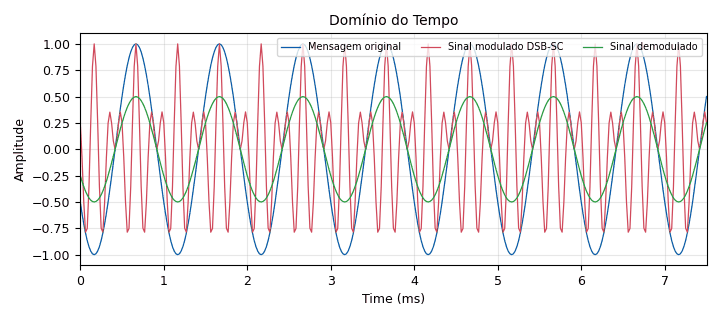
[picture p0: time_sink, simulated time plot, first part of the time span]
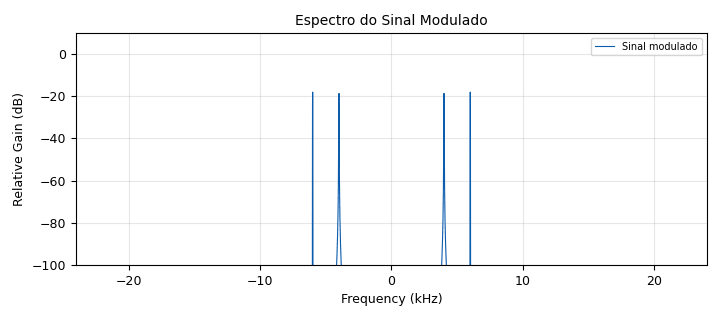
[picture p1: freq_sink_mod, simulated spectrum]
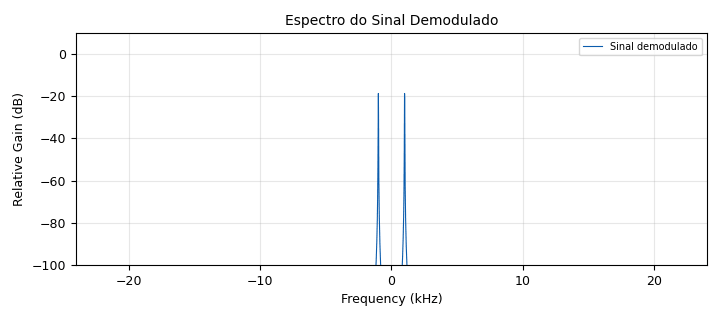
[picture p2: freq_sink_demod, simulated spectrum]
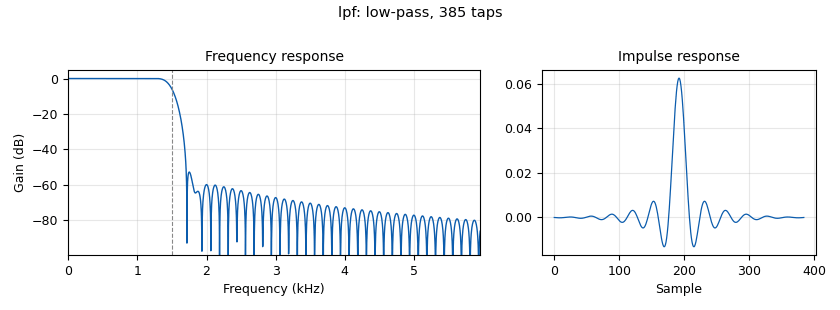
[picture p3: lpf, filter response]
options:
  parameters:
    author: Prof. Daniel Costa Araújo
    description: Prática 02 - Modulação AM DSB-SC
    generate_options: qt_gui
    id: pratica_02_am_dsbsc
    output_language: python
    title: Prática 02 - Modulação AM DSB-SC
  states: {}

blocks:
- name: import_math
  id: import
  parameters:
    comment: Necessário para cos() e sin() do oscilador local
    imports: import math
  states: {}
- name: samp_rate
  id: variable
  parameters:
    comment: Taxa de amostragem
    value: '48000'
  states: {}
- name: fc
  id: variable
  parameters:
    comment: Frequência da portadora
    value: '5000'
  states: {}
- name: fm
  id: variable_qtgui_range
  parameters:
    comment: Frequência da mensagem
    gui_hint: 0,0,1,1
    label: Frequência mensagem fm (Hz)
    start: '200'
    step: '200'
    stop: '6000'
    value: '1000'
  states: {}
- name: phase_deg
  id: variable_qtgui_range
  parameters:
    comment: Erro de fase do oscilador local (graus)
    gui_hint: 0,1,1,1
    label: Erro de fase (graus)
    start: '0'
    step: '5'
    stop: '90'
    value: '0'
  states: {}
- name: phase_rad
  id: variable
  parameters:
    comment: Conversão graus para radianos
    value: phase_deg * 3.14159265 / 180
  states: {}
- name: ganho_i
  id: variable
  parameters:
    comment: 'cos(theta): ramo em fase'
    value: math.cos(phase_rad)
  states: {}
- name: ganho_q
  id: variable
  parameters:
    comment: '-sin(theta): ramo em quadratura'
    value: '-math.sin(phase_rad)'
  states: {}
- name: lpf_cutoff
  id: variable_qtgui_range
  parameters:
    comment: Frequência de corte do LPF
    gui_hint: 1,0,1,1
    label: LPF Cutoff (Hz)
    start: '200'
    step: '100'
    stop: '12000'
    value: '1500'
  states: {}
- name: src_mensagem
  id: analog_sig_source_x
  parameters:
    amp: '1.0'
    comment: Sinal mensagem m(t)
    freq: fm
    offset: '0'
    phase: '0'
    samp_rate: samp_rate
    type: float
    waveform: analog.GR_COS_WAVE
  states: {}
- name: src_portadora
  id: analog_sig_source_x
  parameters:
    amp: '1.0'
    comment: Portadora c(t)
    freq: fc
    offset: '0'
    phase: '0'
    samp_rate: samp_rate
    type: float
    waveform: analog.GR_COS_WAVE
  states: {}
- name: lo_cos
  id: analog_sig_source_x
  parameters:
    amp: '1.0'
    comment: Oscilador local, ramo em fase
    freq: fc
    offset: '0'
    phase: '0'
    samp_rate: samp_rate
    type: float
    waveform: analog.GR_COS_WAVE
  states: {}
- name: lo_sin
  id: analog_sig_source_x
  parameters:
    amp: '1.0'
    comment: Oscilador local, ramo em quadratura
    freq: fc
    offset: '0'
    phase: '0'
    samp_rate: samp_rate
    type: float
    waveform: analog.GR_SIN_WAVE
  states: {}
- name: gain_i
  id: blocks_multiply_const_vxx
  parameters:
    comment: cos(theta)
    const: ganho_i
    type: float
  states: {}
- name: gain_q
  id: blocks_multiply_const_vxx
  parameters:
    comment: '-sin(theta)'
    const: ganho_q
    type: float
  states: {}
- name: lo_sum
  id: blocks_add_xx
  parameters:
    comment: Oscilador local resultante
    type: float
  states: {}
- name: mult_mod
  id: blocks_multiply_xx
  parameters:
    comment: 'Modulação DSB-SC: m(t) × c(t)'
    type: float
  states: {}
- name: throttle
  id: blocks_throttle2
  parameters:
    samples_per_second: samp_rate
    type: float
  states: {}
- name: mult_demod
  id: blocks_multiply_xx
  parameters:
    comment: 'Demodulação: s(t) × cos(2πfc·t + θ)'
    type: float
  states: {}
- name: lpf
  id: low_pass_filter
  parameters:
    comment: Filtro passa-baixas para recuperar m(t)
    cutoff_freq: lpf_cutoff
    decim: '1'
    gain: '1'
    samp_rate: samp_rate
    type: fir_filter_fff
    width: '300'
    win: window.WIN_HAMMING
  states: {}
- name: time_sink
  id: qtgui_time_sink_x
  parameters:
    autoscale: 'True'
    grid: 'True'
    gui_hint: 2,0,1,1
    label1: Mensagem original
    label2: Sinal modulado DSB-SC
    label3: Sinal demodulado
    name: '"Domínio do Tempo"'
    nconnections: '3'
    size: '1024'
    srate: samp_rate
    type: float
    ymax: '1.5'
    ymin: '-1.5'
  states: {}
- name: freq_sink_mod
  id: qtgui_freq_sink_x
  parameters:
    bw: samp_rate
    fc: '0'
    fftsize: '4096'
    grid: 'True'
    gui_hint: 2,1,1,1
    label1: Sinal modulado
    name: '"Espectro do Sinal Modulado"'
    type: float
    wintype: window.WIN_HANN
    ymin: '-100'
  states: {}
- name: freq_sink_demod
  id: qtgui_freq_sink_x
  parameters:
    bw: samp_rate
    fc: '0'
    fftsize: '4096'
    grid: 'True'
    gui_hint: 3,1,1,1
    label1: Sinal demodulado
    name: '"Espectro do Sinal Demodulado"'
    type: float
    wintype: window.WIN_HANN
    ymin: '-100'
  states: {}

connections:
- [src_mensagem, '0', mult_mod, '0']
- [src_portadora, '0', mult_mod, '1']
- [mult_mod, '0', throttle, '0']
- [throttle, '0', mult_demod, '0']
- [lo_cos, '0', gain_i, '0']
- [lo_sin, '0', gain_q, '0']
- [gain_i, '0', lo_sum, '0']
- [gain_q, '0', lo_sum, '1']
- [lo_sum, '0', mult_demod, '1']
- [mult_demod, '0', lpf, '0']
- [src_mensagem, '0', time_sink, '0']
- [throttle, '0', time_sink, '1']
- [lpf, '0', time_sink, '2']
- [throttle, '0', freq_sink_mod, '0']
- [lpf, '0', freq_sink_demod, '0']

metadata:
  file_format: 1
  grc_version: 3.10.12.0
